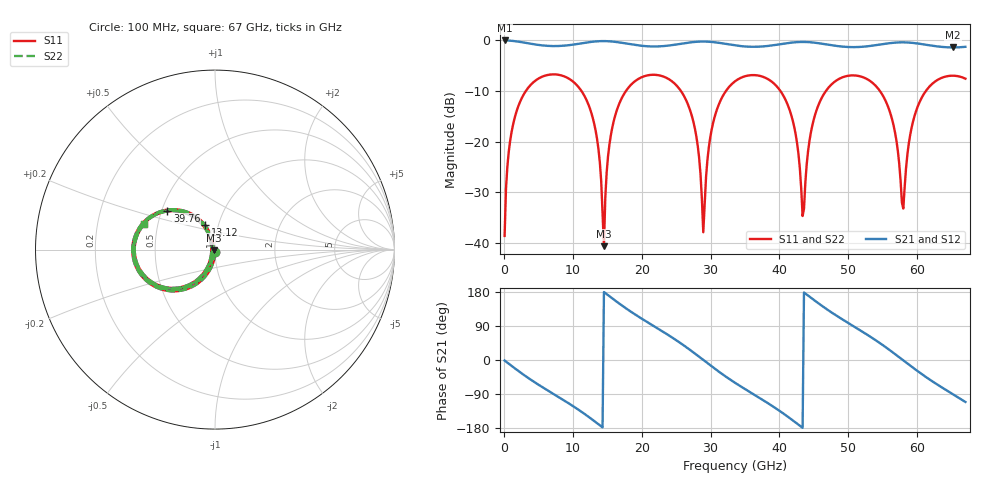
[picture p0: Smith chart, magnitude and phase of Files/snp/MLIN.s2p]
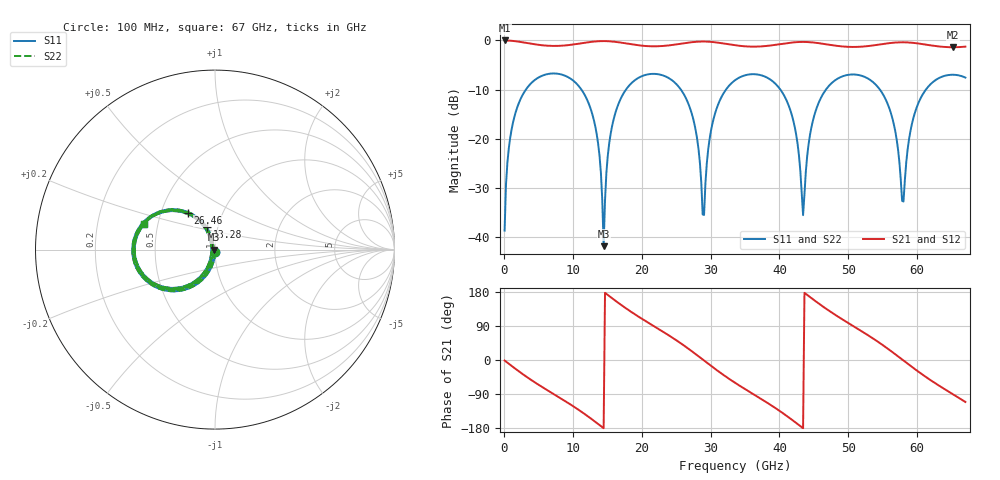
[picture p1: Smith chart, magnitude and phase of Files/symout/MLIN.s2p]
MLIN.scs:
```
simulator lang=local
global 0
NPORT0 1 0 2 0 nport file="D:\saves\Pycharm\HowToElementBuilder\Code\Files\snp\MLIN.s2p"
PORT0 1 0 port r=50 num=1 type=sine rptstart=1 rpttimes=0
PORT1 2 0 port r=50 num=2 type=sine rptstart=1 rpttimes=0
SPSweep sp start=100000000 stop=67000000000 step=199701492.53731343 file="D:\saves\Pycharm\HowToElementBuilder\Code\Files\symout\MLIN.s2p"
DEFAULT_OPTIONS options tnom=27 temp=27  acout=0 fast_spice=0 reltol=1.000000e-003 rawfmt=nutascii
```
Files/snp/MLIN.s2p:
! Created with skrf (http://scikit-rf.org).
# Hz S RI R 50.0
!freq ReS11 ImS11 ReS21 ImS21 ReS12 ImS12 ReS22 ImS22
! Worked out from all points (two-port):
!   335 points, 100 MHz to 67 GHz, reference 50 ohm
!   highest |S21| = -0.03 dB at 100 MHz (marker M1); lowest = -1.4 dB at 65.2 GHz (marker M2)
!   |S21| within 3 dB of the highest: start of sweep to end of sweep
!   lowest |S11| = -40.7 dB at 14.52 GHz (marker M3), VSWR 1.02, Z = 49.2 - j0.461 ohm
!   |S11| at or under -10 dB: 25.69 GHz to 32.24 GHz (6.548 GHz wide, 22.6 % of centre); 40.14 GHz to 46.75 GHz (6.613 GHz wide, 15.2 % of centre); 54.59 GHz to 61.27 GHz (6.68 GHz wide, 11.5 % of centre)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
!   |S22| runs from -40.7 to -6.7 dB; largest |S21 - S12| = 4.1e-15
!   S11 on the Smith chart (normalised r, x): 100 MHz: 1.00, -0.02; 13.12 GHz: 0.86, +0.24; 39.76 GHz: 0.54, +0.26; 67 GHz: 0.42, +0.14
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1e8  0.00246 -0.0114  0.9968 -0.0245  0.9968 -0.0245  0.00246 -0.0114
1.311946e10  -0.0554 0.1381  -0.9203 -0.3147  -0.9203 -0.3147  -0.0554 0.1381
1.452156e10  -0.00799 -0.00469  -0.9827 0.0102  -0.9827 0.0102  -0.00799 -0.00469
1.812695e10  -0.2619 -0.2234  -0.6073 0.692  -0.6073 0.692  -0.2619 -0.2234
3.355e10  -0.344 -0.1912  0.4454 -0.7727  0.4454 -0.7727  -0.344 -0.1912
3.975928e10  -0.2649 0.2161  -0.5957 -0.6851  -0.5957 -0.6851  -0.2649 0.2161
4.336467e10  -0.0167 0.00774  -0.9638 -0.0172  -0.9638 -0.0172  -0.0167 0.00774
5.097605e10  -0.449 0.0246  0.0497 0.8556  0.0497 0.8556  -0.449 0.0246
5.798653e10  -0.0206 -0.00721  0.9551 -0.0161  0.9551 -0.0161  -0.0206 -0.00721
6.519731e10  -0.4474 0.0031  -0.00676 -0.8507  -0.00676 -0.8507  -0.4474 0.0031
6.7e10  -0.394 0.1402  -0.3054 -0.8072  -0.3054 -0.8072  -0.394 0.1402
Files/symout/MLIN.s2p:
! Touchstone Ver. 1.0
! Number of ports is 2
# Hz  S RI  R  50
! SCATTERING PARAMETERS  :
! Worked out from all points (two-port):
!   336 points, 100 MHz to 67 GHz, reference 50 ohm
!   highest |S21| = -0.03 dB at 100 MHz (marker M1); lowest = -1.4 dB at 65.2 GHz (marker M2)
!   |S21| within 3 dB of the highest: start of sweep to end of sweep
!   lowest |S11| = -41.8 dB at 14.48 GHz (marker M3), VSWR 1.02, Z = 49.2 + j0.00489 ohm
!   |S11| at or under -10 dB: 11.25 GHz to 17.72 GHz (6.473 GHz wide, 44.7 % of centre); 40.13 GHz to 46.75 GHz (6.62 GHz wide, 15.2 % of centre); 54.58 GHz to 61.27 GHz (6.683 GHz wide, 11.5 % of centre)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
!   |S22| runs from -41.8 to -6.7 dB; largest |S21 - S12| = 0
!   S11 on the Smith chart (normalised r, x): 100 MHz: 1.00, -0.02; 13.28 GHz: 0.89, +0.22; 26.46 GHz: 0.68, +0.30; 67 GHz: 0.42, +0.14
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1e8  0.00246 -0.0114  0.9968 -0.0245  0.9968 -0.0245  0.00246 -0.0114
1.32803e10  -0.0454 0.1238  -0.9337 -0.2796  -0.9337 -0.2796  -0.0454 0.1238
1.447851e10  -0.00813 4.97e-05  -0.9826 -0.000173  -0.9826 -0.000173  -0.00813 4.97e-05
2.64606e10  -0.1517 0.2054  0.7799 0.5272  0.7799 0.5272  -0.1517 0.2054
2.905672e10  -0.0131 -0.0106  0.9719 -0.0232  0.9719 -0.0232  -0.0131 -0.0106
3.364985e10  -0.3516 -0.1863  0.4286 -0.7797  0.4286 -0.7797  -0.3516 -0.1863
4.343522e10  -0.0168 0.000276  -0.9636 -0.000644  -0.9636 -0.000644  -0.0168 0.000276
5.082418e10  -0.45 0.0119  0.0245 0.8564  0.0245 0.8564  -0.45 0.0119
5.801343e10  -0.0208 -0.01  0.9548 -0.0223  0.9548 -0.0223  -0.0208 -0.01
6.520269e10  -0.4474 0.00355  -0.00765 -0.8507  -0.00765 -0.8507  -0.4474 0.00355
6.7e10  -0.394 0.1402  -0.3054 -0.8072  -0.3054 -0.8072  -0.394 0.1402
